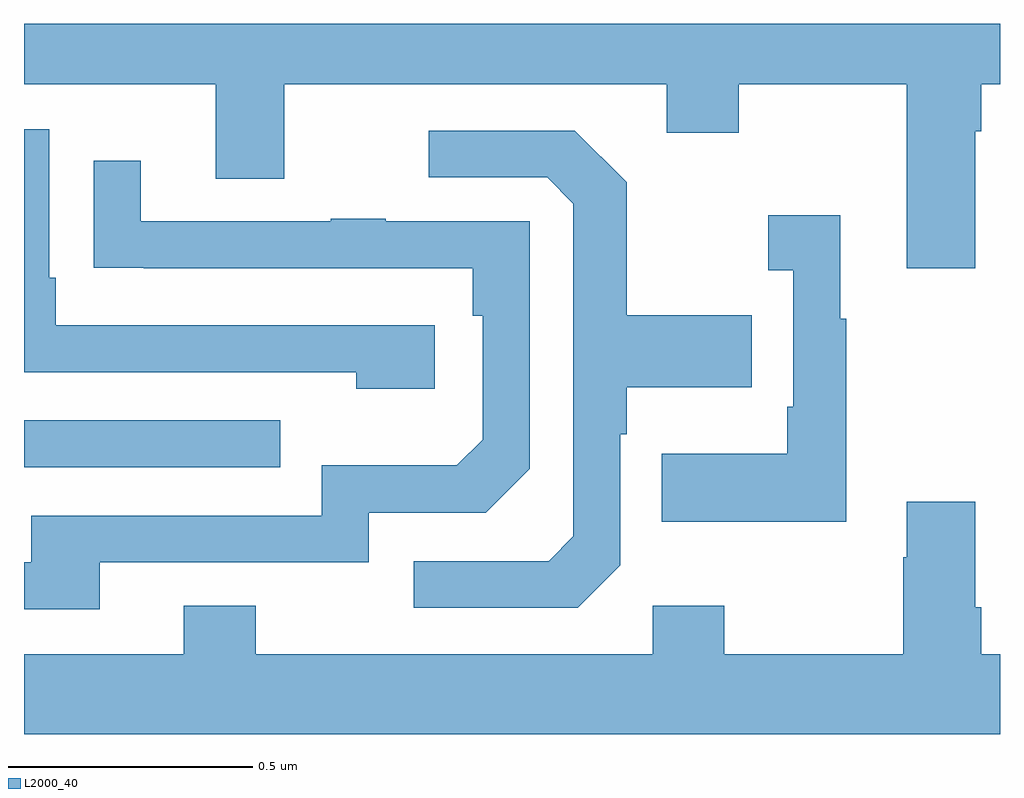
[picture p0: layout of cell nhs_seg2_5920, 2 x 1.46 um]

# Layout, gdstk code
import gdstk
lib = gdstk.Library(unit=1e-6, precision=1e-09)
def R(c, l, rs):  # rectangles x0, y0, x1, y1
    for r in rs: c.add(gdstk.rectangle(r[:2], r[2:], *l))
def P(c, l, *ps):  # polygons
    for p in ps: c.add(gdstk.Polygon(p, *l))
L2000_40 = (2000, 40)

nhs_seg2_5920 = lib.new_cell('nhs_seg2_5920')
R(nhs_seg2_5920, L2000_40, [(185,606.891,185.525,606.987)])
P(nhs_seg2_5920, L2000_40, [(186.949,607.58),(186.962,607.58),(186.962,607.676),(187,607.676),(187,607.8),(185,607.8),(185,607.676),(185.393,607.676),(185.393,607.482),(185.533,607.482),(185.533,607.676),(186.317,607.676),(186.317,607.577),(186.465,607.577),(186.465,607.676),(186.809,607.676),(186.809,607.299),(186.949,607.299)],
  [(185.842,607.182),(185.065,607.182),(185.065,607.279),(185.052,607.279),(185.052,607.584),(185,607.584),(185,607.086),(185.681,607.086),(185.681,607.052),(185.842,607.052)],
  [(186.222,606.69),(186.222,606.959),(186.235,606.959),(186.235,607.055),(186.491,607.055),(186.491,607.203),(186.235,607.203),(186.235,607.475),(186.129,607.581),(185.829,607.581),(185.829,607.485),(186.072,607.485),(186.126,607.431),(186.126,606.75),(186.075,606.699),(185.799,606.699),(185.799,606.603),(186.135,606.603)],
  [(185.155,606.696),(185.706,606.696),(185.706,606.798),(185.946,606.798),(186.036,606.888),(186.036,607.395),(185.741,607.395),(185.741,607.4),(185.629,607.4),(185.629,607.395),(185.239,607.395),(185.239,607.519),(185.143,607.519),(185.143,607.3),(185.245,607.3),(185.245,607.299),(185.92,607.299),(185.92,607.202),(185.94,607.202),(185.94,606.948),(185.887,606.895),(185.61,606.895),(185.61,606.792),(185.015,606.792),(185.015,606.696),(185,606.696),(185,606.6),(185.155,606.6)],
  [(186.685,607.195),(186.673,607.195),(186.673,607.408),(186.525,607.408),(186.525,607.295),(186.576,607.295),(186.576,607.015),(186.564,607.015),(186.564,606.919),(186.307,606.919),(186.307,606.779),(186.685,606.779)],
  [(187,606.508),(186.962,606.508),(186.962,606.604),(186.949,606.604),(186.949,606.82),(186.809,606.82),(186.809,606.707),(186.802,606.707),(186.802,606.508),(186.435,606.508),(186.435,606.607),(186.288,606.607),(186.288,606.508),(185.475,606.508),(185.475,606.607),(185.327,606.607),(185.327,606.508),(185,606.508),(185,606.344),(187,606.344)])

lib.write_gds('nhs_seg2_5920.gds')
